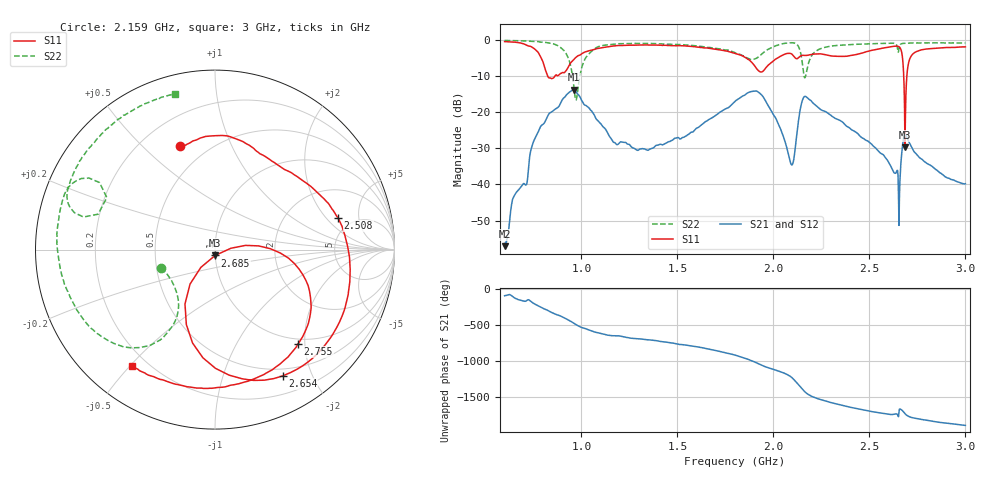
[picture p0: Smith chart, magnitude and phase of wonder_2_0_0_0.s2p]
#  HZ  S  RI  R  50.00
! Rohde & Schwarz ZVB8 2Ports - Version 2.81 - 1145.1010k08 SN: 100113
! Date: 2016-05-12 03:15:43
! Measurements: S11 S21 S12 S22
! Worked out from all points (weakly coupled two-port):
!   1000 points, 600 MHz to 3 GHz, reference 50 ohm
!   highest |S21| = -13.84 dB at 960.4 MHz (marker M1); lowest = -57.1 dB at 600 MHz (marker M2)
!   lowest |S11| = -29.8 dB at 2.685 GHz (marker M3), VSWR 1.07, Z = 50 - j3.25 ohm
!   |S11| at or under -10 dB: 823.5 MHz to 862.6 MHz (39.11 MHz wide, 4.64 % of centre); 2.679 GHz to 2.695 GHz (16.6 MHz wide, 0.618 % of centre)
!   |S22| runs from -16.7 to -0.2 dB; largest |S21 - S12| = 0.0012
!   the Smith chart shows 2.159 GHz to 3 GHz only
!   S11 on the Smith chart (normalised r, x): 2.159 GHz: 0.36, +0.66; 2.508 GHz: 3.82, +2.71; 2.654 GHz: 0.41, -1.59; 2.685 GHz: 1.00, -0.06; 2.755 GHz: 0.91, -1.86; 3 GHz: 0.14, -0.51
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6e8  -0.8643 0.3699  -8.16e-05 -0.0014  -8.71e-05 -0.00135  -0.9579 0.1796
7.345345e8  -0.1781 0.7891  -0.0274 -0.00567  -0.0274 -0.00551  -0.6417 0.6995
8.45045e8  0.0102 0.2895  0.0838 0.0547  0.0838 0.0548  -0.0628 0.8853
9.243243e8  -0.1024 0.3726  0.0875 -0.1515  0.0875 -0.1515  0.4619 0.4034
9.603604e8  -0.0789 0.5253  -0.0881 -0.1832  -0.0881 -0.1834  0.198 -0.1108
1.001201e9  0.0772 0.6317  -0.144 -0.0129  -0.1438 -0.013  -0.4005 0.0748
1.135736e9  0.6831 0.411  0.0101 0.051  0.01 0.0509  0.0926 0.844
1.255856e9  0.8135 -0.2071  0.0274 0.0203  0.0274 0.0204  0.6276 0.6224
1.4e9  0.3564 -0.7601  0.0349 -0.00203  0.035 -0.00212  0.8771 0.0618
1.618619e9  -0.5509 -0.5521  -0.00105 -0.0644  -0.00101 -0.0645  0.4932 -0.6389
1.801201e9  -0.636 0.1074  -0.133 0.0472  -0.1331 0.0474  -0.0259 -0.6586
1.935736e9  -0.3193 0.1606  0.159 0.0733  0.1591 0.0731  0.00528 -0.6205
2.094294e9  -0.3196 0.5501  -0.0157 -0.0101  -0.0158 -0.0102  -0.6469 -0.6348
2.159159e9  -0.1927 0.5745  0.1484 0.0646  0.1484 0.0649  -0.3012 -0.1031
2.2e9  -0.0906 0.6177  0.0833 -0.1117  0.0834 -0.1118  -0.3203 -0.5117
2.507508e9  0.6848 0.177  -0.0053 0.0365  -0.00529 0.0365  -0.8793 0.0141
2.601201e9  0.7275 -0.3115  0.0107 0.0169  0.0108 0.0168  -0.8563 0.2464
2.654054e9  0.3776 -0.7035  0.000198 0.00271  0.000114 0.00271  -0.7325 0.1814
2.685285e9  0.00107 -0.0324  0.0184 0.0445  0.0183 0.0443  -0.8082 0.375
2.711712e9  0.5187 -0.2001  0.0337 0.0128  0.0336 0.0128  -0.7776 0.4467
2.754955e9  0.4633 -0.5245  0.0244 -0.00273  0.0243 -0.00259  -0.723 0.5373
3e9  -0.4624 -0.646  -0.00133 -0.0102  -0.00134 -0.0101  -0.2236 0.8686
